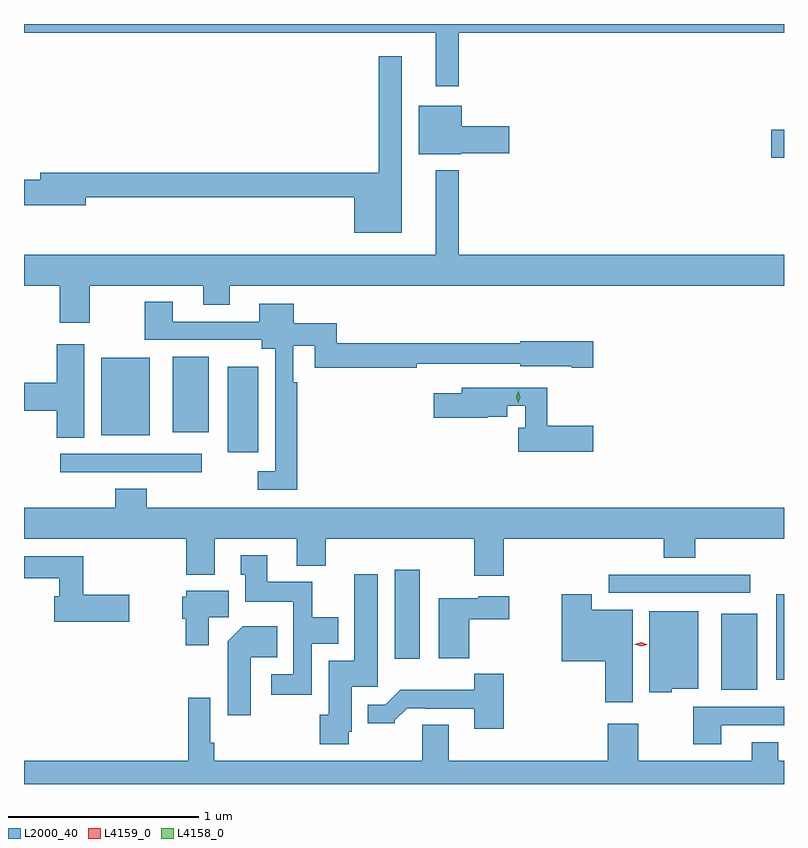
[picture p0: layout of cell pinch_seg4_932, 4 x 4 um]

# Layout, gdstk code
import gdstk
lib = gdstk.Library(unit=1e-6, precision=1e-09)
def R(c, l, rs):  # rectangles x0, y0, x1, y1
    for r in rs: c.add(gdstk.rectangle(r[:2], r[2:], *l))
def P(c, l, *ps):  # polygons
    for p in ps: c.add(gdstk.Polygon(p, *l))
L2000_40 = (2000, 40)
L4158_0 = (4158, 0)
L4159_0 = (4159, 0)

pinch_seg4_932 = lib.new_cell('pinch_seg4_932')
R(pinch_seg4_932, L2000_40, [(760.922,781.373,761.11,781.774), (761.21,781.428,761.252,781.876), (759.203,781.536,759.334,782.005), (760.329,781.884,761.074,781.98), (757.443,782.52,758.188,782.616), (758.324,782.625,758.485,783.073), (757.658,782.714,757.915,783.121), (758.036,782.729,758.224,783.127), (761.184,784.175,761.252,784.322)])
P(pinch_seg4_932, L2000_40, [(759.541,784.832),(761.252,784.832),(761.252,784.878),(757.252,784.878),(757.252,784.832),(759.419,784.832),(759.419,784.551),(759.541,784.551)],
  [(759.241,784.708),(759.12,784.708),(759.12,784.094),(757.337,784.094),(757.337,784.058),(757.252,784.058),(757.252,783.923),(757.576,783.923),(757.576,783.966),(758.99,783.966),(758.99,783.779),(759.241,783.779)],
  [(759.552,784.199),(759.805,784.199),(759.805,784.341),(759.556,784.341),(759.556,784.447),(759.329,784.447),(759.329,784.193),(759.552,784.193)],
  [(757.599,783.5),(758.195,783.5),(758.195,783.401),(758.335,783.401),(758.335,783.5),(761.252,783.5),(761.252,783.664),(759.541,783.664),(759.541,784.108),(759.419,784.108),(759.419,783.664),(757.252,783.664),(757.252,783.5),(757.439,783.5),(757.439,783.306),(757.599,783.306)],
  [(758.69,782.993),(758.67,782.993),(758.67,783.184),(758.781,783.184),(758.781,783.07),(759.32,783.07),(759.32,783.09),(759.864,783.09),(759.864,783.077),(760.136,783.077),(760.136,783.07),(760.249,783.07),(760.249,783.207),(759.864,783.207),(759.864,783.199),(758.897,783.199),(758.897,783.302),(758.671,783.302),(758.671,783.406),(758.489,783.406),(758.489,783.312),(758.035,783.312),(758.035,783.415),(757.888,783.415),(757.888,783.216),(758.504,783.216),(758.504,783.17),(758.574,783.17),(758.574,782.523),(758.481,782.523),(758.481,782.427),(758.69,782.427)],
  [(757.57,783.193),(757.424,783.193),(757.424,782.99),(757.252,782.99),(757.252,782.843),(757.424,782.843),(757.424,782.701),(757.57,782.701)],
  [(760.249,782.763),(760.007,782.763),(760.007,782.964),(759.557,782.964),(759.557,782.935),(759.408,782.935),(759.408,782.806),(759.692,782.806),(759.692,782.81),(759.795,782.81),(759.795,782.868),(759.891,782.868),(759.891,782.754),(759.853,782.754),(759.853,782.626),(760.249,782.626)],
  [(759.776,782.168),(760.619,782.168),(760.619,782.069),(760.784,782.069),(760.784,782.168),(761.252,782.168),(761.252,782.332),(757.898,782.332),(757.898,782.431),(757.733,782.431),(757.733,782.332),(757.252,782.332),(757.252,782.168),(758.105,782.168),(758.105,781.979),(758.257,781.979),(758.257,782.168),(758.687,782.168),(758.687,782.027),(758.84,782.027),(758.84,782.168),(759.623,782.168),(759.623,781.974),(759.776,781.974)],
  [(758.766,781.616),(758.905,781.616),(758.905,781.756),(758.769,781.756),(758.769,781.942),(758.533,781.942),(758.533,782.083),(758.393,782.083),(758.393,781.98),(758.417,781.98),(758.417,781.838),(758.67,781.838),(758.67,781.455),(758.553,781.455),(758.553,781.347),(758.766,781.347)],
  [(757.807,781.875),(757.565,781.875),(757.565,782.076),(757.252,782.076),(757.252,781.96),(757.437,781.96),(757.437,781.867),(757.411,781.867),(757.411,781.733),(757.807,781.733)],
  [(758.961,781.152),(758.977,781.152),(758.977,781.389),(759.115,781.389),(759.115,781.981),(758.99,781.981),(758.99,781.528),(758.855,781.528),(758.855,781.242),(758.809,781.242),(758.809,781.086),(758.961,781.086)],
  [(758.224,781.756),(758.329,781.756),(758.329,781.894),(758.106,781.894),(758.106,781.863),(758.084,781.863),(758.084,781.749),(758.102,781.749),(758.102,781.608),(758.224,781.608)],
  [(760.456,781.795),(760.24,781.795),(760.24,781.876),(760.082,781.876),(760.082,781.523),(760.31,781.523),(760.31,781.308),(760.456,781.308)],
  [(759.596,781.745),(759.805,781.745),(759.805,781.867),(759.642,781.867),(759.642,781.855),(759.434,781.855),(759.434,781.541),(759.596,781.541)],
  [(760.662,781.379),(760.801,781.379),(760.801,781.786),(760.544,781.786),(760.544,781.361),(760.662,781.361)],
  [(758.446,781.544),(758.585,781.544),(758.585,781.708),(758.402,781.708),(758.324,781.63),(758.324,781.239),(758.446,781.239)],
  [(759.776,781.459),(759.621,781.459),(759.621,781.375),(759.232,781.375),(759.153,781.296),(759.062,781.296),(759.062,781.199),(759.204,781.199),(759.204,781.214),(759.268,781.278),(759.367,781.278),(759.367,781.275),(759.623,781.275),(759.623,781.17),(759.776,781.17)],
  [(761.252,781),(761.221,781),(761.221,781.099),(761.081,781.099),(761.081,781),(760.485,781),(760.485,781.195),(760.325,781.195),(760.325,781),(759.487,781),(759.487,781.19),(759.347,781.19),(759.347,781),(758.252,781),(758.252,781.096),(758.232,781.096),(758.232,781.333),(758.116,781.333),(758.116,781),(757.252,781),(757.252,780.878),(761.252,780.878)],
  [(760.921,781.188),(761.252,781.188),(761.252,781.284),(760.774,781.284),(760.774,781.086),(760.921,781.086)])
P(pinch_seg4_932, L4158_0, [(759.853,782.883),(759.853,782.884),(759.843,782.914),(759.853,782.944),(759.853,782.944),(759.853,782.944),(759.863,782.914),(759.853,782.884)])
P(pinch_seg4_932, L4159_0, [(760.499,781.603),(760.463,781.613),(760.463,781.613),(760.463,781.614),(760.5,781.623),(760.536,781.612),(760.536,781.612),(760.536,781.612)])

lib.write_gds('pinch_seg4_932.gds')
